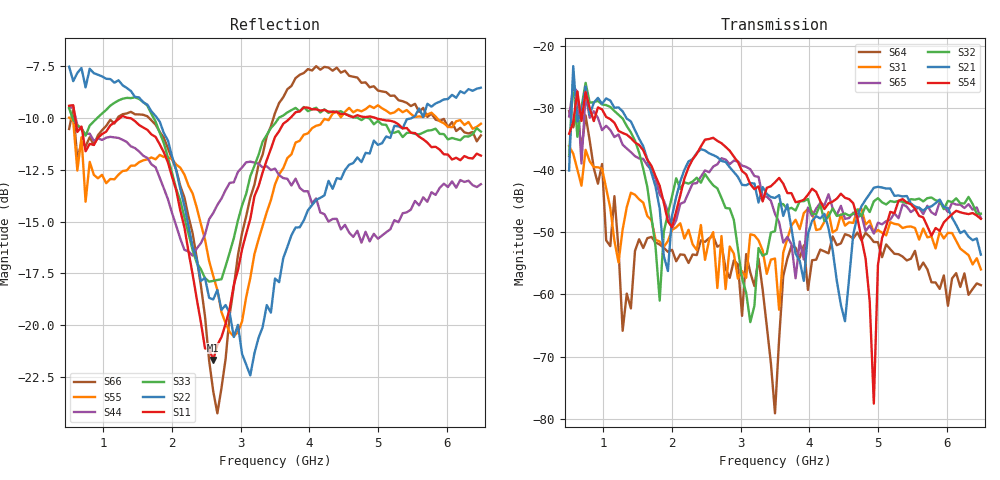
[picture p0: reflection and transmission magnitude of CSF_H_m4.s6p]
!Keysight Technologies,M9804A,MY58100912,A.14.10.03
!Date: Thursday, April 27, 2023 10:28:33
!Correction: S11(C  6-Port  )
!S12(C  6-Port  )
!S13(C  6-Port  )
!S14(C  6-Port  )
!S15(C  6-Port  )
!S16(C  6-Port  )
!S21(C  6-Port  )
!S22(C  6-Port  )
!S23(C  6-Port  )
!S24(C  6-Port  )
!S25(C  6-Port  )
!S26(C  6-Port  )
!S31(C  6-Port  )
!S32(C  6-Port  )
!S33(C  6-Port  )
!S34(C  6-Port  )
!S35(C  6-Port  )
!S36(C  6-Port  )
!S41(C  6-Port  )
!S42(C  6-Port  )
!S43(C  6-Port  )
!S44(C  6-Port  )
!S45(C  6-Port  )
!S46(C  6-Port  )
!S51(C  6-Port  )
!S52(C  6-Port  )
!S53(C  6-Port  )
!S54(C  6-Port  )
!S55(C  6-Port  )
!S56(C  6-Port  )
!S61(C  6-Port  )
!S62(C  6-Port  )
!S63(C  6-Port  )
!S64(C  6-Port  )
!S65(C  6-Port  )
!S66(C  6-Port  )
!S6P File: Measurement: :
# Hz S  RI  R 50
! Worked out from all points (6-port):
!   101 points, 500 MHz to 6.5 GHz, reference 50 ohm
!   strongest paths, dB at 500 MHz, 2 GHz, 3.5 GHz, 5 GHz, 6.5 GHz:
!     S54: -34.1, -49.2, -41.9, -55.2, -47.8
!     S21: -40.0, -47.3, -44.5, -42.7, -53.6
!     S32: -37.7, -44.2, -49.8, -44.5, -47.0
!     S65: -31.3, -49.3, -47.0, -48.4, -47.7
!     S31: -36.1, -49.6, -54.2, -49.6, -56.0
!     S64: -30.5, -52.8, -79.1, -51.6, -58.5
!   lowest |S11| = -21.7 dB at 2.6 GHz (marker M1), VSWR 1.18, Z = 42.6 + j1.99 ohm
!   |S11| at or under -10 dB: 589.1 MHz to 1.239 GHz (649.5 MHz wide, 71.1 % of centre); 1.394 GHz to 3.719 GHz (2.325 GHz wide, 90.9 % of centre); 4.972 GHz to end of sweep
